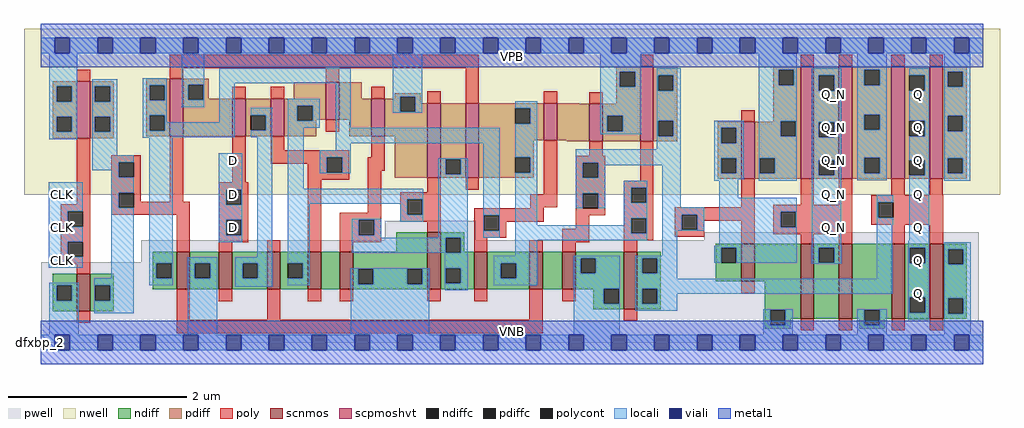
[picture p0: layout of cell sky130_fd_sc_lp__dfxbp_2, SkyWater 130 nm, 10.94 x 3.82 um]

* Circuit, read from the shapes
.subckt sky130_fd_sc_lp__dfxbp_2 CLK D VGND VNB VPB VPWR Q Q_N
XM1 n1 CLK VGND VNB sky130_fd_pr__nfet_01v8 w=0.42 l=0.15
XM2 VGND n1 n2 VNB sky130_fd_pr__nfet_01v8 w=0.42 l=0.15
XM3 n3 D VGND VNB sky130_fd_pr__nfet_01v8 w=0.42 l=0.15
XM4 n4 n1 n3 VNB sky130_fd_pr__nfet_01v8 w=0.42 l=0.15
XM5 n5 n2 n4 VNB sky130_fd_pr__nfet_01v8 w=0.42 l=0.15
XM6 VGND n6 n5 VNB sky130_fd_pr__nfet_01v8 w=0.42 l=0.15
XM7 n6 n4 VGND VNB sky130_fd_pr__nfet_01v8 w=0.64 l=0.15
XM8 n7 n2 n6 VNB sky130_fd_pr__nfet_01v8 w=0.42 l=0.15
XM9 n8 n1 n7 VNB sky130_fd_pr__nfet_01v8 w=0.42 l=0.15
XM10 VGND n9 n8 VNB sky130_fd_pr__nfet_01v8 w=0.42 l=0.15
XM11 n9 n7 VGND VNB sky130_fd_pr__nfet_01v8 w=0.64 l=0.15
XM12 VGND n9 n10 VNB sky130_fd_pr__nfet_01v8 w=0.42 l=0.15
XM13 Q_N n10 VGND VNB sky130_fd_pr__nfet_01v8 w=0.84 l=0.15 m=2
XM14 Q n9 VGND VNB sky130_fd_pr__nfet_01v8 w=0.84 l=0.15 m=2
XM15 n1 CLK VPWR VPB sky130_fd_pr__pfet_01v8_hvt w=0.64 l=0.15
XM16 VPWR n1 n2 VPB sky130_fd_pr__pfet_01v8_hvt w=0.64 l=0.15
XM17 n3 D VPWR VPB sky130_fd_pr__pfet_01v8_hvt w=0.42 l=0.15
XM18 n4 n2 n3 VPB sky130_fd_pr__pfet_01v8_hvt w=0.42 l=0.15
XM19 n11 n1 n4 VPB sky130_fd_pr__pfet_01v8_hvt w=0.42 l=0.15
XM20 VPWR n6 n11 VPB sky130_fd_pr__pfet_01v8_hvt w=0.42 l=0.15
XM21 n6 n4 VPWR VPB sky130_fd_pr__pfet_01v8_hvt w=0.84 l=0.15
XM22 n7 n1 n6 VPB sky130_fd_pr__pfet_01v8_hvt w=0.84 l=0.15
XM23 n12 n2 n7 VPB sky130_fd_pr__pfet_01v8_hvt w=0.42 l=0.15
XM24 VPWR n9 n12 VPB sky130_fd_pr__pfet_01v8_hvt w=0.42 l=0.15
XM25 n9 n7 VPWR VPB sky130_fd_pr__pfet_01v8_hvt w=0.84 l=0.15
XM26 VPWR n9 n10 VPB sky130_fd_pr__pfet_01v8_hvt w=0.64 l=0.15
XM27 Q_N n10 VPWR VPB sky130_fd_pr__pfet_01v8_hvt w=1.26 l=0.15 m=2
XM28 Q n9 VPWR VPB sky130_fd_pr__pfet_01v8_hvt w=1.26 l=0.15 m=2
.ends

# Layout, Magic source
magic
tech sky130A
magscale 1 2
<< nwell >>
rect -38 331 2150 704
<< pwell >>
rect 771 229 975 273
rect 1487 229 2102 247
rect 225 180 2102 229
rect 1 49 2102 180
rect 0 0 2112 49
<< scnmos >>
rect 80 70 110 154
rect 304 119 334 203
rect 399 119 429 203
rect 507 119 537 203
rect 598 119 628 203
rect 670 119 700 203
rect 866 119 896 247
rect 971 119 1001 203
rect 1095 119 1125 203
rect 1169 119 1199 203
rect 1307 75 1337 203
rect 1570 137 1600 221
rect 1703 53 1733 221
rect 1789 53 1819 221
rect 1907 53 1937 221
rect 1993 53 2023 221
<< scpmoshvt >>
rect 80 458 110 586
rect 289 463 319 591
rect 429 463 459 547
rect 515 463 545 547
rect 639 499 669 583
rect 741 463 771 547
rect 866 369 896 537
rect 952 369 982 537
rect 1127 453 1157 537
rect 1229 451 1259 535
rect 1343 451 1373 619
rect 1570 367 1600 495
rect 1703 367 1733 619
rect 1789 367 1819 619
rect 1906 367 1936 619
rect 1992 367 2022 619
<< ndiff >>
rect 797 203 866 247
rect 251 178 304 203
rect 27 128 80 154
rect 27 94 35 128
rect 69 94 80 128
rect 27 70 80 94
rect 110 128 163 154
rect 110 94 121 128
rect 155 94 163 128
rect 251 144 259 178
rect 293 144 304 178
rect 251 119 304 144
rect 334 178 399 203
rect 334 144 345 178
rect 379 144 399 178
rect 334 119 399 144
rect 429 178 507 203
rect 429 144 452 178
rect 486 144 507 178
rect 429 119 507 144
rect 537 178 598 203
rect 537 144 553 178
rect 587 144 598 178
rect 537 119 598 144
rect 628 119 670 203
rect 700 165 866 203
rect 700 131 711 165
rect 745 131 821 165
rect 855 131 866 165
rect 700 119 866 131
rect 896 235 949 247
rect 896 201 907 235
rect 941 203 949 235
rect 1513 213 1570 221
rect 941 201 971 203
rect 896 167 971 201
rect 896 133 907 167
rect 941 133 971 167
rect 896 119 971 133
rect 1001 178 1095 203
rect 1001 144 1031 178
rect 1065 144 1095 178
rect 1001 119 1095 144
rect 1125 119 1169 203
rect 1199 189 1307 203
rect 1199 155 1210 189
rect 1244 155 1307 189
rect 1199 121 1307 155
rect 1199 119 1262 121
rect 110 70 163 94
rect 1238 87 1262 119
rect 1296 87 1307 121
rect 1238 75 1307 87
rect 1337 189 1390 203
rect 1337 155 1348 189
rect 1382 155 1390 189
rect 1337 121 1390 155
rect 1513 179 1525 213
rect 1559 179 1570 213
rect 1513 137 1570 179
rect 1600 137 1703 221
rect 1337 87 1348 121
rect 1382 87 1390 121
rect 1337 75 1390 87
rect 1623 73 1703 137
rect 1623 39 1635 73
rect 1669 53 1703 73
rect 1733 213 1789 221
rect 1733 179 1744 213
rect 1778 179 1789 213
rect 1733 53 1789 179
rect 1819 73 1907 221
rect 1819 53 1846 73
rect 1669 39 1681 53
rect 1623 31 1681 39
rect 1834 39 1846 53
rect 1880 53 1907 73
rect 1937 212 1993 221
rect 1937 178 1948 212
rect 1982 178 1993 212
rect 1937 101 1993 178
rect 1937 67 1948 101
rect 1982 67 1993 101
rect 1937 53 1993 67
rect 2023 209 2076 221
rect 2023 175 2034 209
rect 2068 175 2076 209
rect 2023 99 2076 175
rect 2023 65 2034 99
rect 2068 65 2076 99
rect 2023 53 2076 65
rect 1880 39 1892 53
rect 1834 31 1892 39
<< pdiff >>
rect 27 574 80 586
rect 27 540 35 574
rect 69 540 80 574
rect 27 506 80 540
rect 27 472 35 506
rect 69 472 80 506
rect 27 458 80 472
rect 110 574 163 586
rect 110 540 121 574
rect 155 540 163 574
rect 110 506 163 540
rect 110 472 121 506
rect 155 472 163 506
rect 110 458 163 472
rect 236 577 289 591
rect 236 543 244 577
rect 278 543 289 577
rect 236 509 289 543
rect 236 475 244 509
rect 278 475 289 509
rect 236 463 289 475
rect 319 578 376 591
rect 319 544 330 578
rect 364 547 376 578
rect 567 547 639 583
rect 364 544 429 547
rect 319 463 429 544
rect 459 510 515 547
rect 459 476 470 510
rect 504 476 515 510
rect 459 463 515 476
rect 545 531 639 547
rect 545 497 575 531
rect 609 499 639 531
rect 669 547 719 583
rect 793 551 851 559
rect 793 547 805 551
rect 669 499 741 547
rect 609 497 617 499
rect 545 463 617 497
rect 691 463 741 499
rect 771 517 805 547
rect 839 537 851 551
rect 1290 607 1343 619
rect 1290 573 1298 607
rect 1332 573 1343 607
rect 839 517 866 537
rect 771 463 866 517
rect 793 369 866 463
rect 896 411 952 537
rect 896 377 907 411
rect 941 377 952 411
rect 896 369 952 377
rect 982 525 1127 537
rect 982 491 1063 525
rect 1097 491 1127 525
rect 982 453 1127 491
rect 1157 535 1207 537
rect 1290 535 1343 573
rect 1157 453 1229 535
rect 982 415 1105 453
rect 982 381 1063 415
rect 1097 381 1105 415
rect 982 369 1105 381
rect 1179 451 1229 453
rect 1259 508 1343 535
rect 1259 474 1270 508
rect 1304 474 1343 508
rect 1259 451 1343 474
rect 1373 599 1426 619
rect 1373 565 1384 599
rect 1418 565 1426 599
rect 1373 497 1426 565
rect 1642 611 1703 619
rect 1642 577 1654 611
rect 1688 577 1703 611
rect 1373 463 1384 497
rect 1418 463 1426 497
rect 1642 496 1703 577
rect 1642 495 1658 496
rect 1373 451 1426 463
rect 1517 481 1570 495
rect 1517 447 1525 481
rect 1559 447 1570 481
rect 1517 413 1570 447
rect 1517 379 1525 413
rect 1559 379 1570 413
rect 1517 367 1570 379
rect 1600 462 1658 495
rect 1692 462 1703 496
rect 1600 413 1703 462
rect 1600 379 1611 413
rect 1645 379 1703 413
rect 1600 367 1703 379
rect 1733 599 1789 619
rect 1733 565 1744 599
rect 1778 565 1789 599
rect 1733 494 1789 565
rect 1733 460 1744 494
rect 1778 460 1789 494
rect 1733 409 1789 460
rect 1733 375 1744 409
rect 1778 375 1789 409
rect 1733 367 1789 375
rect 1819 611 1906 619
rect 1819 577 1846 611
rect 1880 577 1906 611
rect 1819 511 1906 577
rect 1819 477 1846 511
rect 1880 477 1906 511
rect 1819 414 1906 477
rect 1819 380 1846 414
rect 1880 380 1906 414
rect 1819 367 1906 380
rect 1936 599 1992 619
rect 1936 565 1947 599
rect 1981 565 1992 599
rect 1936 497 1992 565
rect 1936 463 1947 497
rect 1981 463 1992 497
rect 1936 409 1992 463
rect 1936 375 1947 409
rect 1981 375 1992 409
rect 1936 367 1992 375
rect 2022 607 2075 619
rect 2022 573 2033 607
rect 2067 573 2075 607
rect 2022 508 2075 573
rect 2022 474 2033 508
rect 2067 474 2075 508
rect 2022 413 2075 474
rect 2022 379 2033 413
rect 2067 379 2075 413
rect 2022 367 2075 379
<< ndiffc >>
rect 35 94 69 128
rect 121 94 155 128
rect 259 144 293 178
rect 345 144 379 178
rect 452 144 486 178
rect 553 144 587 178
rect 711 131 745 165
rect 821 131 855 165
rect 907 201 941 235
rect 907 133 941 167
rect 1031 144 1065 178
rect 1210 155 1244 189
rect 1262 87 1296 121
rect 1348 155 1382 189
rect 1525 179 1559 213
rect 1348 87 1382 121
rect 1635 39 1669 73
rect 1744 179 1778 213
rect 1846 39 1880 73
rect 1948 178 1982 212
rect 1948 67 1982 101
rect 2034 175 2068 209
rect 2034 65 2068 99
<< pdiffc >>
rect 35 540 69 574
rect 35 472 69 506
rect 121 540 155 574
rect 121 472 155 506
rect 244 543 278 577
rect 244 475 278 509
rect 330 544 364 578
rect 470 476 504 510
rect 575 497 609 531
rect 805 517 839 551
rect 1298 573 1332 607
rect 907 377 941 411
rect 1063 491 1097 525
rect 1063 381 1097 415
rect 1270 474 1304 508
rect 1384 565 1418 599
rect 1654 577 1688 611
rect 1384 463 1418 497
rect 1525 447 1559 481
rect 1525 379 1559 413
rect 1658 462 1692 496
rect 1611 379 1645 413
rect 1744 565 1778 599
rect 1744 460 1778 494
rect 1744 375 1778 409
rect 1846 577 1880 611
rect 1846 477 1880 511
rect 1846 380 1880 414
rect 1947 565 1981 599
rect 1947 463 1981 497
rect 1947 375 1981 409
rect 2033 573 2067 607
rect 2033 474 2067 508
rect 2033 379 2067 413
<< poly >>
rect 289 615 982 645
rect 1343 619 1373 645
rect 1703 619 1733 645
rect 1789 619 1819 645
rect 1906 619 1936 645
rect 1992 619 2022 645
rect 80 586 110 612
rect 289 591 319 615
rect 639 583 669 615
rect 429 547 459 573
rect 515 547 545 573
rect 741 547 771 573
rect 639 473 669 499
rect 866 537 896 563
rect 952 537 982 615
rect 1127 537 1157 563
rect 80 310 110 458
rect 44 294 110 310
rect 44 260 60 294
rect 94 260 110 294
rect 158 404 224 420
rect 158 370 174 404
rect 208 370 224 404
rect 158 336 224 370
rect 158 302 174 336
rect 208 316 224 336
rect 289 316 319 463
rect 429 359 459 463
rect 515 431 545 463
rect 515 415 691 431
rect 741 415 771 463
rect 515 401 641 415
rect 598 381 641 401
rect 675 381 691 415
rect 598 365 691 381
rect 733 385 771 415
rect 399 343 465 359
rect 208 302 334 316
rect 158 286 334 302
rect 44 226 110 260
rect 44 192 60 226
rect 94 192 110 226
rect 304 203 334 286
rect 399 309 415 343
rect 449 309 465 343
rect 399 275 465 309
rect 399 241 415 275
rect 449 241 465 275
rect 399 225 465 241
rect 399 203 429 225
rect 507 203 537 229
rect 598 203 628 365
rect 733 291 763 385
rect 1229 535 1259 561
rect 866 337 896 369
rect 952 343 982 369
rect 670 275 763 291
rect 670 241 713 275
rect 747 241 763 275
rect 805 321 896 337
rect 1127 333 1157 453
rect 1570 495 1600 521
rect 1229 419 1259 451
rect 805 287 821 321
rect 855 287 896 321
rect 1097 303 1157 333
rect 1199 403 1265 419
rect 1199 369 1215 403
rect 1249 369 1265 403
rect 1199 335 1265 369
rect 1343 363 1373 451
rect 1097 301 1127 303
rect 805 271 896 287
rect 866 247 896 271
rect 971 285 1127 301
rect 971 251 993 285
rect 1027 271 1127 285
rect 1199 301 1215 335
rect 1249 301 1265 335
rect 1199 285 1265 301
rect 1307 347 1373 363
rect 1307 313 1323 347
rect 1357 313 1373 347
rect 1027 251 1043 271
rect 1199 255 1229 285
rect 670 225 763 241
rect 670 203 700 225
rect 44 176 110 192
rect 80 154 110 176
rect 971 235 1043 251
rect 971 203 1001 235
rect 1095 203 1125 229
rect 1169 225 1229 255
rect 1307 279 1373 313
rect 1570 303 1600 367
rect 1703 309 1733 367
rect 1789 309 1819 367
rect 1906 330 1936 367
rect 1992 330 2022 367
rect 1307 245 1323 279
rect 1357 245 1373 279
rect 1307 229 1373 245
rect 1421 287 1600 303
rect 1421 253 1437 287
rect 1471 273 1600 287
rect 1471 253 1487 273
rect 1421 237 1487 253
rect 1169 203 1199 225
rect 1307 203 1337 229
rect 1570 221 1600 273
rect 1642 293 1819 309
rect 1642 259 1658 293
rect 1692 259 1819 293
rect 1861 314 2023 330
rect 1861 280 1877 314
rect 1911 280 2023 314
rect 1861 264 2023 280
rect 1642 243 1819 259
rect 1703 221 1733 243
rect 1789 221 1819 243
rect 1907 221 1937 264
rect 1993 221 2023 264
rect 80 44 110 70
rect 304 51 334 119
rect 399 93 429 119
rect 507 51 537 119
rect 598 93 628 119
rect 670 93 700 119
rect 866 93 896 119
rect 971 93 1001 119
rect 1095 51 1125 119
rect 1169 93 1199 119
rect 1570 111 1600 137
rect 304 21 1125 51
rect 1307 49 1337 75
rect 1703 27 1733 53
rect 1789 27 1819 53
rect 1907 27 1937 53
rect 1993 27 2023 53
<< polycont >>
rect 60 260 94 294
rect 174 370 208 404
rect 174 302 208 336
rect 641 381 675 415
rect 60 192 94 226
rect 415 309 449 343
rect 415 241 449 275
rect 713 241 747 275
rect 821 287 855 321
rect 1215 369 1249 403
rect 993 251 1027 285
rect 1215 301 1249 335
rect 1323 313 1357 347
rect 1323 245 1357 279
rect 1437 253 1471 287
rect 1658 259 1692 293
rect 1877 280 1911 314
<< locali >>
rect 0 649 31 683
rect 65 649 127 683
rect 161 649 223 683
rect 257 649 319 683
rect 353 649 415 683
rect 449 649 511 683
rect 545 649 607 683
rect 641 649 703 683
rect 737 649 799 683
rect 833 649 895 683
rect 929 649 991 683
rect 1025 649 1087 683
rect 1121 649 1183 683
rect 1217 649 1279 683
rect 1313 649 1375 683
rect 1409 649 1471 683
rect 1505 649 1567 683
rect 1601 649 1663 683
rect 1697 649 1759 683
rect 1793 649 1855 683
rect 1889 649 1951 683
rect 1985 649 2047 683
rect 2081 649 2112 683
rect 19 574 81 649
rect 19 540 35 574
rect 69 540 81 574
rect 19 506 81 540
rect 19 472 35 506
rect 69 472 81 506
rect 19 456 81 472
rect 115 574 171 590
rect 115 540 121 574
rect 155 540 171 574
rect 115 506 171 540
rect 115 472 121 506
rect 155 472 171 506
rect 115 420 171 472
rect 228 577 282 593
rect 228 543 244 577
rect 278 543 282 577
rect 228 509 282 543
rect 316 578 366 649
rect 316 544 330 578
rect 364 544 366 578
rect 316 528 366 544
rect 400 581 695 615
rect 228 475 244 509
rect 278 494 282 509
rect 400 494 434 581
rect 553 531 625 547
rect 278 475 434 494
rect 228 460 434 475
rect 470 510 519 526
rect 504 476 519 510
rect 470 460 519 476
rect 228 459 295 460
rect 115 404 208 420
rect 115 386 174 404
rect 158 370 174 386
rect 18 294 94 359
rect 18 260 60 294
rect 18 226 94 260
rect 18 192 60 226
rect 18 168 94 192
rect 158 336 208 370
rect 158 302 174 336
rect 158 144 208 302
rect 19 128 85 134
rect 19 94 35 128
rect 69 94 85 128
rect 19 17 85 94
rect 119 128 208 144
rect 243 178 295 459
rect 399 343 451 424
rect 399 309 415 343
rect 449 309 451 343
rect 399 275 451 309
rect 399 241 415 275
rect 449 241 451 275
rect 399 225 451 241
rect 485 191 519 460
rect 243 144 259 178
rect 293 144 295 178
rect 243 128 295 144
rect 329 178 395 191
rect 329 144 345 178
rect 379 144 395 178
rect 119 94 121 128
rect 155 94 208 128
rect 119 66 208 94
rect 329 17 395 144
rect 436 178 519 191
rect 436 144 452 178
rect 486 144 519 178
rect 436 125 519 144
rect 553 497 575 531
rect 609 497 625 531
rect 553 481 625 497
rect 661 481 695 581
rect 789 551 855 649
rect 789 517 805 551
rect 839 517 855 551
rect 1254 607 1346 649
rect 1254 573 1298 607
rect 1332 573 1346 607
rect 789 515 855 517
rect 1063 525 1113 541
rect 1097 491 1113 525
rect 553 345 589 481
rect 661 447 1029 481
rect 661 431 695 447
rect 625 415 695 431
rect 625 381 641 415
rect 675 381 695 415
rect 625 379 695 381
rect 891 411 957 413
rect 891 377 907 411
rect 941 377 957 411
rect 553 321 857 345
rect 553 311 821 321
rect 553 178 603 311
rect 805 287 821 311
rect 855 287 857 321
rect 697 275 763 277
rect 697 241 713 275
rect 747 241 763 275
rect 805 271 857 287
rect 697 235 763 241
rect 891 235 957 377
rect 991 285 1029 447
rect 991 251 993 285
rect 1027 251 1029 285
rect 991 235 1029 251
rect 1063 415 1113 491
rect 1254 508 1346 573
rect 1254 474 1270 508
rect 1304 474 1346 508
rect 1254 467 1346 474
rect 1380 599 1434 615
rect 1380 565 1384 599
rect 1418 565 1434 599
rect 1380 497 1434 565
rect 1609 611 1694 649
rect 1609 577 1654 611
rect 1688 577 1694 611
rect 1380 463 1384 497
rect 1418 463 1434 497
rect 1380 433 1434 463
rect 1097 381 1113 415
rect 1063 263 1113 381
rect 1199 403 1434 433
rect 1199 369 1215 403
rect 1249 397 1434 403
rect 1249 369 1265 397
rect 1199 335 1265 369
rect 1199 301 1215 335
rect 1249 301 1265 335
rect 1307 347 1359 363
rect 1307 313 1323 347
rect 1357 313 1359 347
rect 1307 279 1359 313
rect 1307 263 1323 279
rect 1063 245 1323 263
rect 1357 245 1359 279
rect 697 201 907 235
rect 941 201 957 235
rect 587 144 603 178
rect 905 167 957 201
rect 1063 229 1359 245
rect 1393 303 1434 397
rect 1509 481 1575 497
rect 1509 447 1525 481
rect 1559 447 1575 481
rect 1509 413 1575 447
rect 1509 379 1525 413
rect 1559 379 1575 413
rect 1509 366 1575 379
rect 1609 496 1694 577
rect 1609 462 1658 496
rect 1692 462 1694 496
rect 1609 413 1694 462
rect 1609 379 1611 413
rect 1645 379 1694 413
rect 1509 363 1563 366
rect 1609 363 1694 379
rect 1728 599 1794 615
rect 1728 565 1744 599
rect 1778 565 1794 599
rect 1728 494 1794 565
rect 1728 460 1744 494
rect 1778 460 1794 494
rect 1728 409 1794 460
rect 1728 375 1744 409
rect 1778 375 1794 409
rect 1521 325 1563 363
rect 1393 287 1487 303
rect 1393 253 1437 287
rect 1471 253 1487 287
rect 1393 251 1487 253
rect 1521 293 1694 325
rect 1521 259 1658 293
rect 1692 259 1694 293
rect 1063 195 1113 229
rect 1393 195 1427 251
rect 1521 217 1694 259
rect 553 128 603 144
rect 695 165 871 167
rect 695 131 711 165
rect 745 131 821 165
rect 855 131 871 165
rect 695 17 871 131
rect 905 133 907 167
rect 941 133 957 167
rect 905 117 957 133
rect 1015 178 1113 195
rect 1015 144 1031 178
rect 1065 144 1113 178
rect 1015 128 1113 144
rect 1194 189 1298 195
rect 1194 155 1210 189
rect 1244 155 1298 189
rect 1194 121 1298 155
rect 1194 87 1262 121
rect 1296 87 1298 121
rect 1194 17 1298 87
rect 1332 189 1427 195
rect 1332 155 1348 189
rect 1382 155 1427 189
rect 1509 213 1694 217
rect 1509 179 1525 213
rect 1559 179 1694 213
rect 1728 213 1794 375
rect 1830 611 1896 649
rect 1830 577 1846 611
rect 1880 577 1896 611
rect 1830 511 1896 577
rect 1830 477 1846 511
rect 1880 477 1896 511
rect 1830 414 1896 477
rect 1830 380 1846 414
rect 1880 380 1896 414
rect 1830 364 1896 380
rect 1947 599 1991 615
rect 1981 565 1991 599
rect 1947 497 1991 565
rect 1981 463 1991 497
rect 1947 409 1991 463
rect 1981 375 1991 409
rect 1728 179 1744 213
rect 1778 179 1794 213
rect 1728 177 1794 179
rect 1874 314 1911 330
rect 1874 280 1877 314
rect 1874 264 1911 280
rect 1332 143 1427 155
rect 1874 143 1908 264
rect 1947 228 1991 375
rect 2025 607 2083 649
rect 2025 573 2033 607
rect 2067 573 2083 607
rect 2025 508 2083 573
rect 2025 474 2033 508
rect 2067 474 2083 508
rect 2025 413 2083 474
rect 2025 379 2033 413
rect 2067 379 2083 413
rect 2025 363 2083 379
rect 1332 121 1908 143
rect 1332 87 1348 121
rect 1382 109 1908 121
rect 1944 212 1991 228
rect 1944 178 1948 212
rect 1982 178 1991 212
rect 1382 87 1427 109
rect 1332 71 1427 87
rect 1944 101 1991 178
rect 1619 73 1685 75
rect 1619 39 1635 73
rect 1669 39 1685 73
rect 1619 17 1685 39
rect 1830 73 1896 75
rect 1830 39 1846 73
rect 1880 39 1896 73
rect 1944 67 1948 101
rect 1982 67 1991 101
rect 1944 51 1991 67
rect 2025 209 2084 225
rect 2025 175 2034 209
rect 2068 175 2084 209
rect 2025 99 2084 175
rect 2025 65 2034 99
rect 2068 65 2084 99
rect 1830 17 1896 39
rect 2025 17 2084 65
rect 0 -17 31 17
rect 65 -17 127 17
rect 161 -17 223 17
rect 257 -17 319 17
rect 353 -17 415 17
rect 449 -17 511 17
rect 545 -17 607 17
rect 641 -17 703 17
rect 737 -17 799 17
rect 833 -17 895 17
rect 929 -17 991 17
rect 1025 -17 1087 17
rect 1121 -17 1183 17
rect 1217 -17 1279 17
rect 1313 -17 1375 17
rect 1409 -17 1471 17
rect 1505 -17 1567 17
rect 1601 -17 1663 17
rect 1697 -17 1759 17
rect 1793 -17 1855 17
rect 1889 -17 1951 17
rect 1985 -17 2047 17
rect 2081 -17 2112 17
<< viali >>
rect 31 649 65 683
rect 127 649 161 683
rect 223 649 257 683
rect 319 649 353 683
rect 415 649 449 683
rect 511 649 545 683
rect 607 649 641 683
rect 703 649 737 683
rect 799 649 833 683
rect 895 649 929 683
rect 991 649 1025 683
rect 1087 649 1121 683
rect 1183 649 1217 683
rect 1279 649 1313 683
rect 1375 649 1409 683
rect 1471 649 1505 683
rect 1567 649 1601 683
rect 1663 649 1697 683
rect 1759 649 1793 683
rect 1855 649 1889 683
rect 1951 649 1985 683
rect 2047 649 2081 683
rect 31 -17 65 17
rect 127 -17 161 17
rect 223 -17 257 17
rect 319 -17 353 17
rect 415 -17 449 17
rect 511 -17 545 17
rect 607 -17 641 17
rect 703 -17 737 17
rect 799 -17 833 17
rect 895 -17 929 17
rect 991 -17 1025 17
rect 1087 -17 1121 17
rect 1183 -17 1217 17
rect 1279 -17 1313 17
rect 1375 -17 1409 17
rect 1471 -17 1505 17
rect 1567 -17 1601 17
rect 1663 -17 1697 17
rect 1759 -17 1793 17
rect 1855 -17 1889 17
rect 1951 -17 1985 17
rect 2047 -17 2081 17
<< metal1 >>
rect 0 683 2112 715
rect 0 649 31 683
rect 65 649 127 683
rect 161 649 223 683
rect 257 649 319 683
rect 353 649 415 683
rect 449 649 511 683
rect 545 649 607 683
rect 641 649 703 683
rect 737 649 799 683
rect 833 649 895 683
rect 929 649 991 683
rect 1025 649 1087 683
rect 1121 649 1183 683
rect 1217 649 1279 683
rect 1313 649 1375 683
rect 1409 649 1471 683
rect 1505 649 1567 683
rect 1601 649 1663 683
rect 1697 649 1759 683
rect 1793 649 1855 683
rect 1889 649 1951 683
rect 1985 649 2047 683
rect 2081 649 2112 683
rect 0 617 2112 649
rect 0 17 2112 49
rect 0 -17 31 17
rect 65 -17 127 17
rect 161 -17 223 17
rect 257 -17 319 17
rect 353 -17 415 17
rect 449 -17 511 17
rect 545 -17 607 17
rect 641 -17 703 17
rect 737 -17 799 17
rect 833 -17 895 17
rect 929 -17 991 17
rect 1025 -17 1087 17
rect 1121 -17 1183 17
rect 1217 -17 1279 17
rect 1313 -17 1375 17
rect 1409 -17 1471 17
rect 1505 -17 1567 17
rect 1601 -17 1663 17
rect 1697 -17 1759 17
rect 1793 -17 1855 17
rect 1889 -17 1951 17
rect 1985 -17 2047 17
rect 2081 -17 2112 17
rect 0 -49 2112 -17
<< labels >>
flabel pwell s 0 0 2112 49 0 FreeSans 200 0 0 0 VNB
port 4 nsew ground bidirectional
flabel nwell s 0 617 2112 666 0 FreeSans 200 0 0 0 VPB
port 5 nsew power bidirectional
rlabel comment s 0 0 0 0 4 dfxbp_2
flabel metal1 s 0 617 2112 666 0 FreeSans 340 0 0 0 VPWR
port 6 nsew power bidirectional
flabel metal1 s 0 0 2112 49 0 FreeSans 340 0 0 0 VGND
port 3 nsew ground bidirectional
flabel locali s 1759 242 1793 276 0 FreeSans 340 0 0 0 Q_N
port 8 nsew signal output
flabel locali s 1759 316 1793 350 0 FreeSans 340 0 0 0 Q_N
port 8 nsew signal output
flabel locali s 1759 390 1793 424 0 FreeSans 340 0 0 0 Q_N
port 8 nsew signal output
flabel locali s 1759 464 1793 498 0 FreeSans 340 0 0 0 Q_N
port 8 nsew signal output
flabel locali s 1759 538 1793 572 0 FreeSans 340 0 0 0 Q_N
port 8 nsew signal output
flabel locali s 1951 94 1985 128 0 FreeSans 340 0 0 0 Q
port 7 nsew signal output
flabel locali s 1951 168 1985 202 0 FreeSans 340 0 0 0 Q
port 7 nsew signal output
flabel locali s 1951 242 1985 276 0 FreeSans 340 0 0 0 Q
port 7 nsew signal output
flabel locali s 1951 316 1985 350 0 FreeSans 340 0 0 0 Q
port 7 nsew signal output
flabel locali s 1951 390 1985 424 0 FreeSans 340 0 0 0 Q
port 7 nsew signal output
flabel locali s 1951 464 1985 498 0 FreeSans 340 0 0 0 Q
port 7 nsew signal output
flabel locali s 1951 538 1985 572 0 FreeSans 340 0 0 0 Q
port 7 nsew signal output
flabel locali s 31 168 65 202 0 FreeSans 340 0 0 0 CLK
port 1 nsew clock input
flabel locali s 31 242 65 276 0 FreeSans 340 0 0 0 CLK
port 1 nsew clock input
flabel locali s 31 316 65 350 0 FreeSans 340 0 0 0 CLK
port 1 nsew clock input
flabel locali s 415 242 449 276 0 FreeSans 340 0 0 0 D
port 2 nsew signal input
flabel locali s 415 316 449 350 0 FreeSans 340 0 0 0 D
port 2 nsew signal input
flabel locali s 415 390 449 424 0 FreeSans 340 0 0 0 D
port 2 nsew signal input
<< properties >>
string LEFsite unit
string LEFclass CORE
string FIXED_BBOX 0 0 2112 666
string GDS_FILE $PDKPATH/libs.ref/sky130_fd_sc_lp/gds/sky130_fd_sc_lp.gds
string LEFsymmetry X Y R90
string GDS_END 2394996
string GDS_START 2378954
<< end >>
